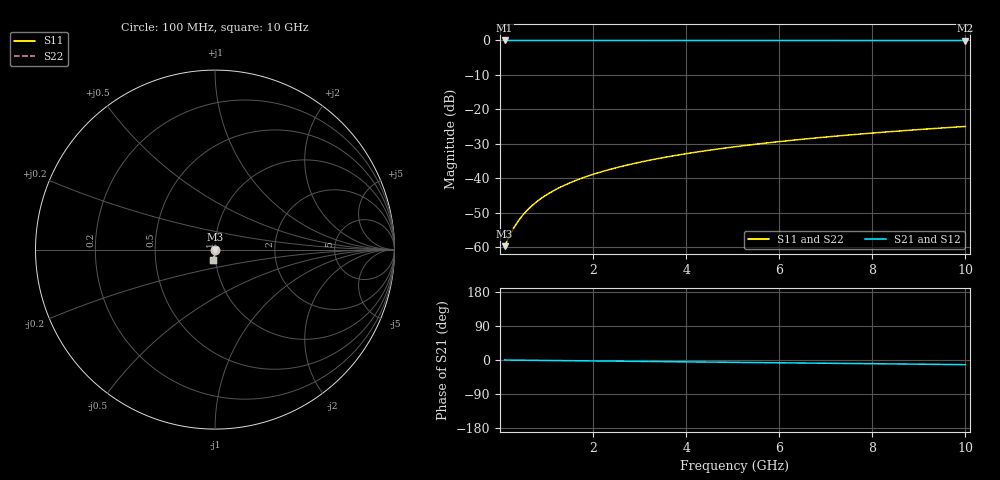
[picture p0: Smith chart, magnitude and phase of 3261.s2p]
# Hz S RI R 50.00
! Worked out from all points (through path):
!   100 points, 100 MHz to 10 GHz, reference 50 ohm
!   highest |S21| = -0.01 dB at 100 MHz (marker M1); lowest = 0.0 dB at 10 GHz (marker M2)
!   group delay of S21, straight-line fit = 3.4 ps
!   lowest |S11| = -59.7 dB at 100 MHz (marker M3), VSWR 1.00, Z = 50.1 - j0.0569 ohm
!   |S11| at or under -10 dB: start of sweep to end of sweep
!   |S22| runs from -59.7 to -25.0 dB; largest |S21 - S12| = 0
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1e8  0.000859 -0.000568  0.9991 -0.00213  0.9991 -0.00213  0.000859 -0.000568
2e8  0.000859 -0.00114  0.9991 -0.00426  0.9991 -0.00426  0.000859 -0.00114
3e8  0.000856 -0.0017  0.9991 -0.00639  0.9991 -0.00639  0.000856 -0.0017
4e8  0.00085 -0.00227  0.9991 -0.00852  0.9991 -0.00852  0.00085 -0.00227
5e8  0.000841 -0.00284  0.9991 -0.0106  0.9991 -0.0106  0.000841 -0.00284
6e8  0.000829 -0.00341  0.999 -0.0128  0.999 -0.0128  0.000829 -0.00341
7e8  0.000815 -0.00397  0.999 -0.0149  0.999 -0.0149  0.000815 -0.00397
9e8  0.000778 -0.00511  0.9989 -0.0192  0.9989 -0.0192  0.000778 -0.00511
1e9  0.000755 -0.00568  0.9989 -0.0213  0.9989 -0.0213  0.000755 -0.00568
1.2e9  0.000703 -0.00681  0.9987 -0.0255  0.9987 -0.0255  0.000703 -0.00681
1.5e9  0.000607 -0.00851  0.9985 -0.0319  0.9985 -0.0319  0.000607 -0.00851
1.8e9  0.000488 -0.0102  0.9983 -0.0383  0.9983 -0.0383  0.000488 -0.0102
2.1e9  0.000347 -0.0119  0.998 -0.0447  0.998 -0.0447  0.000347 -0.0119
2.5e9  0.000125 -0.0142  0.9975 -0.0532  0.9975 -0.0532  0.000125 -0.0142
2.9e9  -0.000136 -0.0164  0.997 -0.0617  0.997 -0.0617  -0.000136 -0.0164
3.4e9  -0.000517 -0.0193  0.9962 -0.0723  0.9962 -0.0723  -0.000517 -0.0193
4.2e9  -0.00125 -0.0237  0.9947 -0.0893  0.9947 -0.0893  -0.00125 -0.0237
5.1e9  -0.00226 -0.0288  0.9927 -0.1084  0.9927 -0.1084  -0.00226 -0.0288
5.9e9  -0.00332 -0.0332  0.9905 -0.1253  0.9905 -0.1253  -0.00332 -0.0332
6.7e9  -0.00453 -0.0376  0.9881 -0.1422  0.9881 -0.1422  -0.00453 -0.0376
8.4e9  -0.0076 -0.0468  0.9818 -0.1779  0.9818 -0.1779  -0.0076 -0.0468
1e10  -0.0111 -0.0553  0.9747 -0.2112  0.9747 -0.2112  -0.0111 -0.0553
